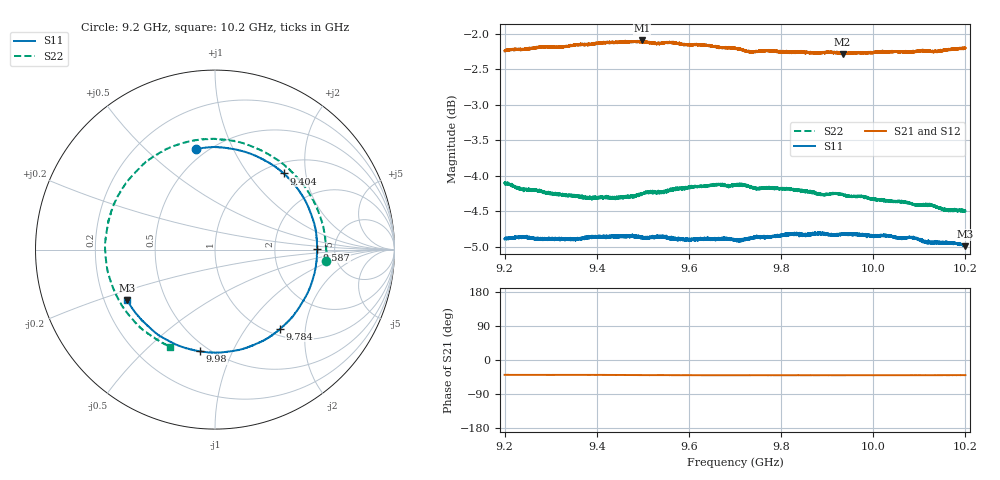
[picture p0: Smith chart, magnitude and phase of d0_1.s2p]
!Agilent Technologies,N5242A,MY51221714,A.09.90.19
!Agilent N5242A: A.09.90.19
!Date: Tuesday, March 26, 2024 17:07:30
!Correction: S11(Full 2 Port(1,2))
!S21(Full 2 Port(1,2))
!S12(Full 2 Port(1,2))
!S22(Full 2 Port(1,2))
!S2P File: Measurements: S11, S21, S12, S22:
# Hz S  dB  R 50
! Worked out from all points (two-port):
!   16001 points, 9.2 GHz to 10.2 GHz, reference 50 ohm
!   highest |S21| = -2.09 dB at 9.498 GHz (marker M1); lowest = -2.3 dB at 9.933 GHz (marker M2)
!   |S21| within 3 dB of the highest: start of sweep to end of sweep
!   lowest |S11| = -5.0 dB at 10.2 GHz (marker M3), VSWR 3.57, Z = 14.9 - j12.2 ohm
!   |S11| at or under -10 dB: nowhere
!   |S22| runs from -4.5 to -4.1 dB; largest |S21 - S12| = 0.012
!   S11 on the Smith chart (normalised r, x): 9.2 GHz: 0.44, +0.73; 9.404 GHz: 1.20, +1.51; 9.587 GHz: 3.65, +0.01; 9.784 GHz: 1.13, -1.47; 9.98 GHz: 0.45, -0.76; 10.2 GHz: 0.30, -0.24
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9.2e9  -4.89 100.9  -2.25 -39.2  -2.23 -40.0  -4.11 -5.9
9.241688e9  -4.88 90.2  -2.22 -39.3  -2.20 -40.0  -4.20 5.4
9.281375e9  -4.90 79.8  -2.19 -39.3  -2.17 -39.9  -4.23 16.1
9.3225e9  -4.89 69.2  -2.19 -39.3  -2.17 -40.0  -4.27 27.1
9.366688e9  -4.88 57.8  -2.15 -39.3  -2.12 -40.0  -4.30 39.1
9.403875e9  -4.86 48.0  -2.13 -39.4  -2.13 -40.1  -4.31 49.2
9.4535e9  -4.85 34.9  -2.12 -39.6  -2.12 -40.3  -4.31 62.3
9.498438e9  -4.86 23.0  -2.09 -39.8  -2.10 -40.5  -4.24 74.2
9.533375e9  -4.86 14.1  -2.14 -39.8  -2.13 -40.4  -4.23 83.1
9.586625e9  -4.89 0.1  -2.15 -40.0  -2.13 -40.7  -4.19 96.7
9.640875e9  -4.89 -14.1  -2.16 -40.2  -2.15 -40.8  -4.13 110.1
9.7e9  -4.90 -29.3  -2.20 -40.3  -2.19 -40.9  -4.13 124.6
9.7845e9  -4.86 -50.4  -2.26 -40.3  -2.24 -40.9  -4.17 145.0
9.825625e9  -4.83 -60.6  -2.26 -40.2  -2.26 -40.7  -4.19 154.9
9.866688e9  -4.83 -70.6  -2.26 -40.2  -2.27 -40.7  -4.23 164.9
9.933438e9  -4.83 -87.0  -2.29 -40.2  -2.27 -40.7  -4.26 -179.1
9.980188e9  -4.84 -98.3  -2.27 -40.2  -2.27 -40.7  -4.31 -167.7
1.003338e10  -4.85 -111.1  -2.26 -40.1  -2.25 -40.7  -4.35 -155.0
1.007569e10  -4.86 -121.0  -2.25 -40.1  -2.25 -40.7  -4.39 -145.0
1.012031e10  -4.94 -131.5  -2.24 -40.2  -2.23 -40.7  -4.40 -134.2
1.019919e10  -4.99 -150.2  -2.21 -39.9  -2.19 -40.5  -4.50 -115.1
1.02e10  -4.98 -150.4  -2.20 -39.9  -2.19 -40.5  -4.50 -114.9
